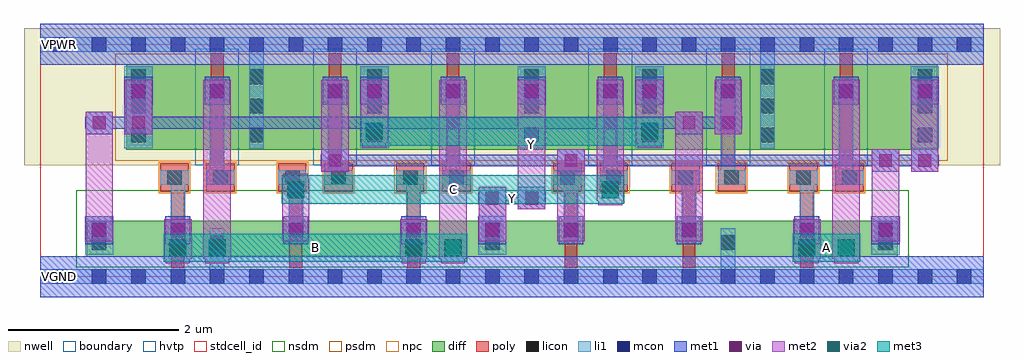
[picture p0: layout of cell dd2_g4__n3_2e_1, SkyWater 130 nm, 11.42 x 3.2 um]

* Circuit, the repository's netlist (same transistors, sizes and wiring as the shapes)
* Generated reference circuit; dimensions in micrometers.
.subckt dd2_g4__n3_2e_1 A B C VGND VNB VPB VPWR Y
XM0 _net1 A VGND VNB sky130_fd_pr__nfet_01v8 w=0.420 l=0.150
XM1 _net1 A VPWR VPB sky130_fd_pr__pfet_01v8_hvt w=1.000 l=0.150
XM2 _net2 B VGND VNB sky130_fd_pr__nfet_01v8 w=0.420 l=0.150
XM3 _net2 B VPWR VPB sky130_fd_pr__pfet_01v8_hvt w=1.000 l=0.150
XM4 Y B _net3 VNB sky130_fd_pr__nfet_01v8 w=0.420 l=0.150
XM5 _net3 C VGND VNB sky130_fd_pr__nfet_01v8 w=0.420 l=0.150
XM6 Y _net1 _net4 VNB sky130_fd_pr__nfet_01v8 w=0.420 l=0.150
XM7 _net4 _net2 VGND VNB sky130_fd_pr__nfet_01v8 w=0.420 l=0.150
XM8 Y B _net5 VPB sky130_fd_pr__pfet_01v8_hvt w=1.000 l=0.150
XM9 Y C _net5 VPB sky130_fd_pr__pfet_01v8_hvt w=1.000 l=0.150
XM10 _net5 _net1 VPWR VPB sky130_fd_pr__pfet_01v8_hvt w=1.000 l=0.150
XM11 _net5 _net2 VPWR VPB sky130_fd_pr__pfet_01v8_hvt w=1.000 l=0.150
.ends dd2_g4__n3_2e_1

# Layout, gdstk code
import gdstk
lib = gdstk.Library(unit=1e-6, precision=1e-09)
def R(c, l, rs):  # rectangles x0, y0, x1, y1
    for r in rs: c.add(gdstk.rectangle(r[:2], r[2:], *l))
def A(c, l, x, y, w, h, nx, ny, dx, dy):  # array of equal rectangles
    R(c, l, [(x+i*dx, y+j*dy, x+i*dx+w, y+j*dy+h) for i in range(nx) for j in range(ny)])
nwell = (64, 20)
diff = (65, 20)
poly = (66, 20)
licon = (66, 44)
li1 = (67, 20)
mcon = (67, 44)
met1 = (68, 20)
via = (68, 44)
met2 = (69, 20)
via2 = (69, 44)
met3 = (70, 20)
hvtp = (78, 44)
stdcell_id = (81, 4)
nsdm = (93, 44)
psdm = (94, 20)
npc = (95, 20)
boundary = (235, 4)

dd2_g4__n3_2e_1 = lib.new_cell('dd2_g4__n3_2e_1')
R(dd2_g4__n3_2e_1, nwell, [(-0.19,1.305,11.23,2.91)])
R(dd2_g4__n3_2e_1, diff, [(0.545,0.235,2.07,0.655), (2.07,0.235,3.45,0.655), (3.45,0.235,5.29,0.655), (5.29,0.235,6.67,0.655), (6.67,0.235,8.05,0.655), (8.05,0.235,10.035,0.655), (1.005,1.485,2.53,2.485), (2.53,1.485,3.91,2.485), (3.91,1.485,5.75,2.485), (5.75,1.485,7.13,2.485), (7.13,1.485,8.51,2.485), (8.51,1.485,10.495,2.485)])
A(dd2_g4__n3_2e_1, poly, 1.535, 0.105, 0.15, 1.22, 3, 1, 1.38, 0)
A(dd2_g4__n3_2e_1, poly, 6.135, 0.105, 0.15, 1.22, 3, 1, 1.38, 0)
A(dd2_g4__n3_2e_1, poly, 1.995, 0.995, 0.15, 1.62, 3, 1, 1.38, 0)
A(dd2_g4__n3_2e_1, poly, 6.595, 0.995, 0.15, 1.62, 3, 1, 1.38, 0)
R(dd2_g4__n3_2e_1, poly, [(1.405,0.995,1.735,1.325), (1.945,0.995,2.275,1.325), (2.785,0.995,3.115,1.325), (3.325,0.995,3.655,1.325), (4.165,0.995,4.495,1.325), (4.705,0.995,5.035,1.325), (6.005,0.995,6.335,1.325), (6.545,0.995,6.875,1.325), (7.385,0.995,7.715,1.325), (7.925,0.995,8.255,1.325), (8.765,0.995,9.095,1.325), (9.305,0.995,9.635,1.325)])
A(dd2_g4__n3_2e_1, licon, 1.065, 1.575, 0.17, 0.17, 3, 3, 1.38, 0.34)
A(dd2_g4__n3_2e_1, licon, 5.665, 1.575, 0.17, 0.17, 3, 3, 1.38, 0.34)
A(dd2_g4__n3_2e_1, licon, 10.265, 1.575, 0.17, 0.17, 1, 3, 0, 0.34)
R(dd2_g4__n3_2e_1, licon, [(0.605,0.315,0.775,0.485), (1.985,0.315,2.155,0.485), (5.205,0.315,5.375,0.485), (7.965,0.315,8.135,0.485), (9.805,0.315,9.975,0.485), (1.485,1.075,1.655,1.245), (2.025,1.075,2.195,1.245), (2.865,1.075,3.035,1.245), (3.405,1.075,3.575,1.245), (4.245,1.075,4.415,1.245), (4.785,1.075,4.955,1.245), (6.085,1.075,6.255,1.245), (6.625,1.075,6.795,1.245), (7.465,1.075,7.635,1.245), (8.005,1.075,8.175,1.245), (8.845,1.075,9.015,1.245), (9.385,1.075,9.555,1.245)])
A(dd2_g4__n3_2e_1, li1, 0.525, 0.255, 0.33, 0.38, 3, 1, 4.6, 0)
A(dd2_g4__n3_2e_1, li1, 0.525, 0.38, 0.33, 0.33, 3, 1, 4.6, 0)
A(dd2_g4__n3_2e_1, li1, 1.525, 0.38, 0.17, 0.33, 3, 1, 1.38, 0)
A(dd2_g4__n3_2e_1, li1, 6.125, 0.38, 0.17, 0.33, 3, 1, 1.38, 0)
A(dd2_g4__n3_2e_1, li1, 1.525, 0.46, 0.17, 0.785, 3, 1, 1.38, 0)
A(dd2_g4__n3_2e_1, li1, 6.125, 0.46, 0.17, 0.785, 3, 1, 1.38, 0)
A(dd2_g4__n3_2e_1, li1, 1.985, 1.075, 0.17, 1.185, 3, 1, 1.38, 0)
A(dd2_g4__n3_2e_1, li1, 6.585, 1.075, 0.17, 1.185, 3, 1, 1.38, 0)
A(dd2_g4__n3_2e_1, li1, 1.985, 2.01, 0.17, 0.33, 3, 1, 1.38, 0)
A(dd2_g4__n3_2e_1, li1, 6.585, 2.01, 0.17, 0.33, 3, 1, 1.38, 0)
R(dd2_g4__n3_2e_1, li1, [(0,-0.085,11.04,0.085), (1.985,-0.085,2.155,0.565), (7.965,-0.085,8.135,0.565), (1.405,1.075,1.735,1.245), (1.945,1.075,2.275,1.245), (2.785,1.075,3.115,1.245), (3.325,1.075,3.655,1.245), (4.165,1.075,4.495,1.245), (4.705,1.075,5.035,1.245), (6.005,1.075,6.335,1.245), (6.545,1.075,6.875,1.245), (7.385,1.075,7.715,1.245), (7.925,1.075,8.255,1.245), (8.765,1.075,9.095,1.245), (9.305,1.075,9.635,1.245), (2.445,1.495,2.615,2.805), (8.425,1.495,8.595,2.805), (0.985,1.505,1.315,2.465), (3.745,1.505,4.075,2.465), (5.585,1.505,5.915,2.465), (6.965,1.505,7.295,2.465), (10.185,1.505,10.515,2.465), (0.985,2.01,1.315,2.34), (3.745,2.01,4.075,2.34), (5.585,2.01,5.915,2.34), (6.965,2.01,7.295,2.34), (10.185,2.01,10.515,2.34), (0,2.635,11.04,2.805)])
A(dd2_g4__n3_2e_1, mcon, 0.145, -0.085, 0.17, 0.17, 24, 2, 0.46, 2.72)
A(dd2_g4__n3_2e_1, mcon, 1.525, 0.46, 0.17, 0.17, 3, 1, 1.38, 0)
A(dd2_g4__n3_2e_1, mcon, 6.125, 0.46, 0.17, 0.17, 3, 1, 1.38, 0)
A(dd2_g4__n3_2e_1, mcon, 3.825, 2.09, 0.17, 0.17, 4, 1, 0.92, 0)
R(dd2_g4__n3_2e_1, mcon, [(0.605,0.46,0.775,0.63), (5.205,0.46,5.375,0.63), (9.805,0.46,9.975,0.63), (1.065,2.09,1.235,2.26), (1.985,2.09,2.155,2.26), (3.365,2.09,3.535,2.26), (7.045,2.09,7.215,2.26), (7.965,2.09,8.135,2.26), (9.345,2.09,9.515,2.26), (10.265,2.09,10.435,2.26)])
A(dd2_g4__n3_2e_1, met1, 0.525, 0.38, 0.33, 0.33, 3, 1, 4.6, 0)
A(dd2_g4__n3_2e_1, met1, 1.465, 0.38, 0.29, 0.33, 3, 1, 1.38, 0)
A(dd2_g4__n3_2e_1, met1, 6.065, 0.38, 0.29, 0.33, 3, 1, 1.38, 0)
A(dd2_g4__n3_2e_1, met1, 1.925, 2.01, 0.29, 0.33, 3, 1, 1.38, 0)
A(dd2_g4__n3_2e_1, met1, 6.525, 2.01, 0.29, 0.33, 3, 1, 1.38, 0)
R(dd2_g4__n3_2e_1, met1, [(0,-0.24,11.04,0.24), (5.13,0.545,5.45,0.92), (5.13,0.79,5.45,1.05), (5.59,0.79,5.91,1.05), (5.125,0.85,5.915,0.99), (3.29,1.23,3.61,1.49), (6.05,1.23,6.37,1.49), (9.73,1.23,10.05,1.49), (10.19,1.23,10.51,1.49), (3.285,1.29,10.515,1.43), (0.53,1.67,0.85,1.93), (0.99,1.67,1.31,1.93), (7.43,1.67,7.75,1.93), (7.89,1.67,8.21,1.93), (0.525,1.73,8.215,1.87), (0.99,1.8,1.31,2.175), (7.895,1.8,8.205,2.175), (0.985,2.01,1.315,2.34), (3.745,2.01,4.075,2.34), (5.585,2.01,5.915,2.34), (6.965,2.01,7.295,2.34), (10.185,2.01,10.515,2.34), (0,2.48,11.04,2.96)])
A(dd2_g4__n3_2e_1, via, 1.535, 0.47, 0.15, 0.15, 3, 1, 1.38, 0)
A(dd2_g4__n3_2e_1, via, 6.135, 0.47, 0.15, 0.15, 3, 1, 1.38, 0)
A(dd2_g4__n3_2e_1, via, 3.835, 2.1, 0.15, 0.15, 4, 1, 0.92, 0)
R(dd2_g4__n3_2e_1, via, [(0.615,0.47,0.765,0.62), (5.215,0.47,5.365,0.62), (9.815,0.47,9.965,0.62), (5.215,0.845,5.365,0.995), (5.675,0.845,5.825,0.995), (3.375,1.285,3.525,1.435), (6.135,1.285,6.285,1.435), (9.815,1.285,9.965,1.435), (10.275,1.285,10.425,1.435), (0.615,1.725,0.765,1.875), (1.075,1.725,1.225,1.875), (7.515,1.725,7.665,1.875), (7.975,1.725,8.125,1.875), (1.075,2.1,1.225,2.25), (1.995,2.1,2.145,2.25), (3.375,2.1,3.525,2.25), (7.055,2.1,7.205,2.25), (7.975,2.1,8.125,2.25), (9.355,2.1,9.505,2.25), (10.275,2.1,10.425,2.25)])
R(dd2_g4__n3_2e_1, met2, [(1.47,0.155,1.75,0.525), (1.93,0.155,2.21,0.525), (4.23,0.155,4.51,0.525), (4.69,0.155,4.97,0.525), (8.83,0.155,9.11,0.525), (9.29,0.155,9.57,0.525), (1.45,0.21,1.77,0.675), (1.91,0.21,2.23,2.305), (4.21,0.21,4.53,0.675), (4.67,0.21,4.99,2.305), (8.81,0.21,9.13,0.675), (9.27,0.21,9.59,2.305), (0.53,0.415,0.85,1.93), (2.83,0.415,3.15,1.15), (5.13,0.415,5.45,1.05), (6.05,0.415,6.37,1.49), (7.43,0.415,7.75,1.93), (9.73,0.415,10.05,1.49), (5.13,0.79,5.45,1.05), (5.59,0.79,5.91,1.05), (5.59,0.79,5.91,2.305), (2.85,0.835,3.13,1.205), (6.53,0.835,6.81,1.205), (6.51,0.89,6.83,2.305), (3.29,1.23,3.61,2.305), (3.29,1.23,3.61,1.49), (6.05,1.23,6.37,1.49), (9.73,1.23,10.05,1.49), (10.19,1.23,10.51,2.305), (10.19,1.23,10.51,1.49), (3.77,1.515,4.05,1.885), (6.99,1.515,7.27,1.885), (3.75,1.57,4.07,2.305), (6.97,1.57,7.29,2.305), (0.53,1.67,0.85,1.93), (0.99,1.67,1.31,1.93), (0.99,1.67,1.31,2.305), (7.43,1.67,7.75,1.93), (7.89,1.67,8.21,1.93), (7.89,1.67,8.21,2.305)])
R(dd2_g4__n3_2e_1, via2, [(1.51,0.24,1.71,0.44), (1.97,0.24,2.17,0.44), (4.27,0.24,4.47,0.44), (4.73,0.24,4.93,0.44), (8.87,0.24,9.07,0.44), (9.33,0.24,9.53,0.44), (2.89,0.92,3.09,1.12), (6.57,0.92,6.77,1.12), (3.81,1.6,4.01,1.8), (7.03,1.6,7.23,1.8)])
R(dd2_g4__n3_2e_1, met3, [(1.445,0.175,4.995,0.505), (1.445,0.175,1.775,0.505), (1.905,0.175,2.235,0.505), (4.205,0.175,4.535,0.505), (4.665,0.175,4.995,0.505), (8.805,0.175,9.595,0.505), (8.805,0.175,9.135,0.505), (9.265,0.175,9.595,0.505), (2.825,0.855,6.835,1.185), (2.825,0.855,3.155,1.185), (6.505,0.855,6.835,1.185), (3.745,1.535,7.295,1.865), (3.745,1.535,4.075,1.865), (6.965,1.535,7.295,1.865)])
A(dd2_g4__n3_2e_1, hvtp, 1.815, 1.305, 0.51, 1.36, 3, 1, 1.38, 0)
A(dd2_g4__n3_2e_1, hvtp, 6.415, 1.305, 0.51, 1.36, 3, 1, 1.38, 0)
R(dd2_g4__n3_2e_1, stdcell_id, [(0,0,11.04,2.72)])
R(dd2_g4__n3_2e_1, nsdm, [(0.42,0.11,10.16,1.01)])
R(dd2_g4__n3_2e_1, psdm, [(0.88,1.36,10.62,2.61)])
R(dd2_g4__n3_2e_1, npc, [(1.385,0.975,1.755,1.345), (1.925,0.975,2.295,1.345), (2.765,0.975,3.135,1.345), (3.305,0.975,3.675,1.345), (4.145,0.975,4.515,1.345), (4.685,0.975,5.055,1.345), (5.985,0.975,6.355,1.345), (6.525,0.975,6.895,1.345), (7.365,0.975,7.735,1.345), (7.905,0.975,8.275,1.345), (8.745,0.975,9.115,1.345), (9.285,0.975,9.655,1.345)])
R(dd2_g4__n3_2e_1, boundary, [(0,0,11.04,2.72)])
dd2_g4__n3_2e_1.add(gdstk.Label('VGND', (0.23,0), layer=68, texttype=5))
dd2_g4__n3_2e_1.add(gdstk.Label('VPWR', (0.23,2.72), layer=68, texttype=5))
dd2_g4__n3_2e_1.add(gdstk.Label('Y', (5.52,0.92), layer=68, texttype=5))
dd2_g4__n3_2e_1.add(gdstk.Label('Y', (5.75,1.545), layer=69, texttype=5))
dd2_g4__n3_2e_1.add(gdstk.Label('VPB', (0.23,2.72), layer=64, texttype=5))
dd2_g4__n3_2e_1.add(gdstk.Label('VNB', (0.23,0), layer=64, texttype=59))
dd2_g4__n3_2e_1.add(gdstk.Label('A', (9.2,0.34), layer=70, texttype=5))
dd2_g4__n3_2e_1.add(gdstk.Label('B', (3.22,0.34), layer=70, texttype=5))
dd2_g4__n3_2e_1.add(gdstk.Label('C', (4.83,1.02), layer=70, texttype=5))

lib.write_gds('dd2_g4__n3_2e_1.gds')
